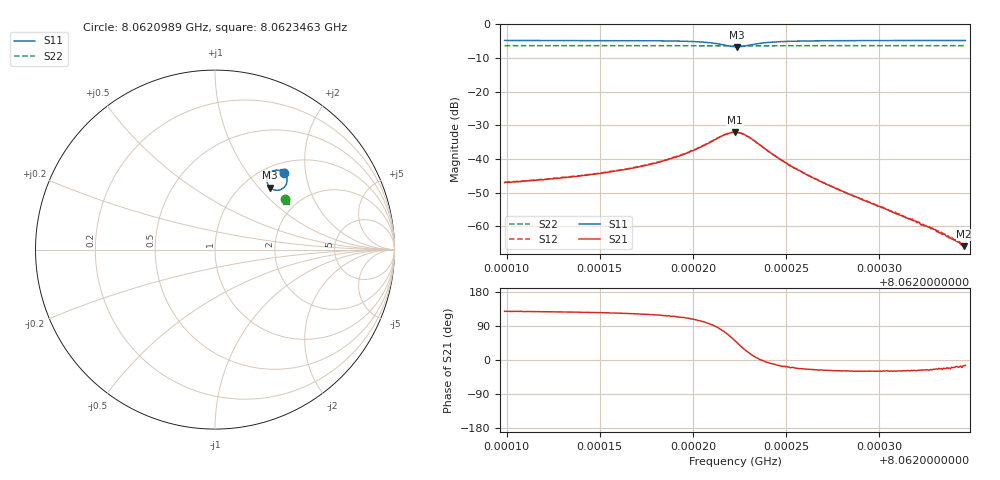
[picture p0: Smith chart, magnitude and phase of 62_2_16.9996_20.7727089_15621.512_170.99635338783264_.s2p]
#  HZ  S  RI  R  50.00
! Rohde & Schwarz Vector Network Analyzer
! Rohde-Schwarz,ZNB20-2Port,1311601062101988,3.16
! Created: UTC 3/20/2024, 10:54:51 PM
! freq[Hz]  re:S11  im:S11  re:S21  im:S21  re:S12  im:S12  re:S22  im:S22
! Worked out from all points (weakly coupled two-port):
!   401 points, 8.0620989 GHz to 8.0623463 GHz, reference 50 ohm
!   highest |S21| = -32.05 dB at 8.0622226 GHz (marker M1); lowest = -65.9 dB at 8.0623457 GHz (marker M2)
!   lowest |S11| = -6.7 dB at 8.0622238 GHz (marker M3), VSWR 2.72, Z = 65.7 + j57.7 ohm
!   |S11| at or under -10 dB: nowhere
!   |S22| runs from -6.4 to -6.3 dB; largest |S21 - S12| = 0.0019
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8.06209893e9  0.384 0.4284  -0.00279 0.00349  -0.00258 0.00373  0.3888 0.2845
8.06214036e9  0.3896 0.4218  -0.00331 0.00459  -0.00311 0.0048  0.3903 0.2823
8.06216448e9  0.3943 0.4149  -0.00383 0.00591  -0.00352 0.00623  0.391 0.2809
8.06218179e9  0.3986 0.4054  -0.00427 0.0079  -0.00384 0.00822  0.3916 0.2796
8.06219478e9  0.4015 0.3916  -0.00443 0.0107  -0.00371 0.0113  0.392 0.2784
8.062209e9  0.3942 0.3586  -0.00158 0.0174  -0.000449 0.0177  0.3915 0.2765
8.06221766e9  0.3566 0.3316  0.0073 0.0219  0.00901 0.0217  0.3899 0.2756
8.0622226e9  0.3167 0.3386  0.0158 0.0193  0.0173 0.0182  0.3884 0.2763
8.06222384e9  0.3077 0.3451  0.0176 0.0175  0.0189 0.0163  0.388 0.2766
8.06222879e9  0.2896 0.383  0.0203 0.00876  0.0208 0.00742  0.3882 0.2782
8.06223868e9  0.3116 0.4314  0.0142 -0.00103  0.0141 -0.00185  0.3901 0.2794
8.0622461e9  0.3306 0.4407  0.00986 -0.00259  0.00972 -0.00314  0.3914 0.2791
8.0622529e9  0.3425 0.4428  0.00733 -0.00266  0.0072 -0.00319  0.3921 0.2787
8.06226403e9  0.3547 0.4421  0.00481 -0.00228  0.00471 -0.00257  0.393 0.278
8.06228197e9  0.3656 0.4392  0.00276 -0.00153  0.00272 -0.00167  0.394 0.277
8.06230547e9  0.3731 0.4358  0.00147 -0.000845  0.00146 -0.000915  0.3949 0.2757
8.06232958e9  0.3778 0.4329  0.000817 -0.000373  0.000828 -0.000419  0.3958 0.2743
8.06233948e9  0.3794 0.4319  0.000601 -0.000223  0.000599 -0.000293  0.3961 0.2738
8.06234257e9  0.38 0.4316  0.000544 -0.000191  0.000539 -0.000214  0.3963 0.2737
8.06234442e9  0.3801 0.4315  0.000492 -0.000177  0.000524 -0.000205  0.3963 0.2736
8.06234566e9  0.3803 0.4313  0.000491 -0.000128  0.000525 -0.000206  0.3964 0.2735
8.06234628e9  0.3805 0.4312  0.000521 -0.000134  0.000506 -0.00018  0.3964 0.2735
